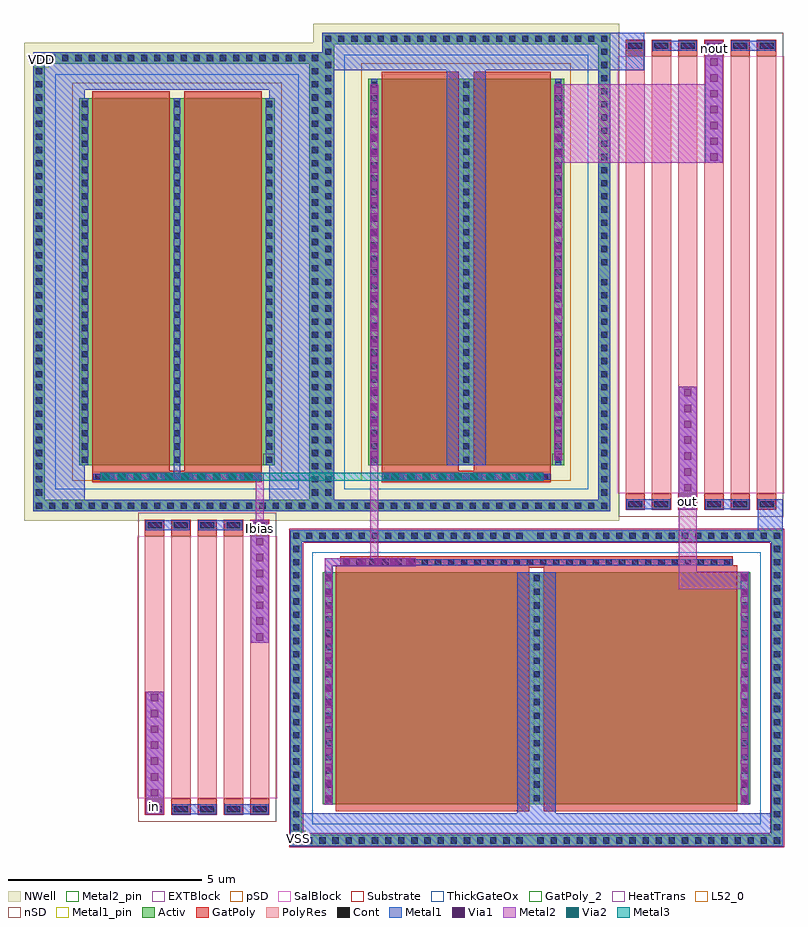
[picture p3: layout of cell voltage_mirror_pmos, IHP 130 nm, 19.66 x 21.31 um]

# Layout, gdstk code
from math import pi, radians
import gdstk
lib = gdstk.Library(unit=1e-6, precision=1e-09)
def R(c, l, rs):  # rectangles x0, y0, x1, y1
    for r in rs: c.add(gdstk.rectangle(r[:2], r[2:], *l))
def A(c, l, x, y, w, h, nx, ny, dx, dy):  # array of equal rectangles
    R(c, l, [(x+i*dx, y+j*dy, x+i*dx+w, y+j*dy+h) for i in range(nx) for j in range(ny)])
def P(c, l, *ps):  # polygons
    for p in ps: c.add(gdstk.Polygon(p, *l))
Activ = (1, 0)
GatPoly = (5, 0)
GatPoly_2 = (5, 2)
Cont = (6, 0)
nSD = (7, 0)
Metal1 = (8, 0)
Metal1_pin = (8, 2)
Metal2 = (10, 0)
Metal2_pin = (10, 2)
pSD = (14, 0)
Via1 = (19, 0)
SalBlock = (28, 0)
Via2 = (29, 0)
Metal3 = (30, 0)
NWell = (31, 0)
Substrate = (40, 0)
ThickGateOx = (44, 0)
HeatTrans = (51, 0)
L52_0 = (52, 0)
EXTBlock = (111, 0)
PolyRes = (128, 0)

nmoshv_10 = lib.new_cell('nmosHV$10')
A(nmoshv_10, Activ, 0, 0, 0.3, 0.3, 3, 1, 5.38, 0)
R(nmoshv_10, Activ, [(-0.84,-0.79,-0.54,6.79), (11.6,-0.79,11.9,6.79), (0,0,11.06,6), (-0.84,6.79,11.9,7.09)])
P(nmoshv_10, Activ, [(-0.84,-1.09),(-0.84,6.79),(-0.54,6.79),(-0.54,-0.79),(11.6,-0.79),(11.6,6.79),(-0.84,6.79),(-0.84,7.09),(11.9,7.09),(11.9,-1.09)])
R(nmoshv_10, GatPoly, [(0.34,-0.18,5.34,6.18), (5.72,-0.18,10.72,6.18)])
R(nmoshv_10, GatPoly_2, [(0.34,-0.18,5.34,6.18)])
A(nmoshv_10, Cont, -0.77, -1.02, 0.16, 0.16, 18, 2, 0.34, 7.88)
A(nmoshv_10, Cont, 5.55, -1.02, 0.16, 0.16, 19, 2, 0.34, 7.88)
A(nmoshv_10, Cont, -0.77, -0.68, 0.16, 0.16, 1, 11, 0, 0.34)
A(nmoshv_10, Cont, 11.67, -0.68, 0.16, 0.16, 1, 11, 0, 0.34)
A(nmoshv_10, Cont, 0.07, 0.07, 0.16, 0.16, 3, 4, 5.38, 0.355)
A(nmoshv_10, Cont, 0.07, 1.495, 0.16, 0.16, 3, 4, 5.38, 0.355)
A(nmoshv_10, Cont, 0.07, 2.92, 0.16, 0.16, 3, 4, 5.38, 0.355)
A(nmoshv_10, Cont, -0.77, 3.12, 0.16, 0.16, 1, 11, 0, 0.34)
A(nmoshv_10, Cont, 11.67, 3.12, 0.16, 0.16, 1, 11, 0, 0.34)
A(nmoshv_10, Cont, 0.07, 4.345, 0.16, 0.16, 3, 4, 5.38, 0.355)
A(nmoshv_10, Cont, 0.07, 5.77, 0.16, 0.16, 3, 1, 5.38, 0)
A(nmoshv_10, Metal1, 0.07, 0, 0.16, 6, 3, 1, 5.38, 0)
R(nmoshv_10, Metal1, [(-0.84,-1.09,11.9,-0.79), (-0.84,-0.79,-0.54,6.79), (11.6,-0.79,11.9,6.79), (-0.84,6.79,11.9,7.09)])
R(nmoshv_10, Metal1_pin, [(0.07,0,0.23,6), (5.45,0,5.61,6)])
R(nmoshv_10, pSD, [(-0.87,-0.76,-0.51,6.76), (11.57,-0.76,11.93,6.76), (-0.87,6.76,11.93,7.12)])
P(nmoshv_10, pSD, [(-0.87,-1.12),(-0.87,6.76),(-0.51,6.76),(-0.51,-0.76),(11.57,-0.76),(11.57,6.76),(-0.87,6.76),(-0.87,7.12),(11.93,7.12),(11.93,-1.12)])
R(nmoshv_10, Substrate, [(-0.87,-0.76,-0.51,6.76), (11.57,-0.76,11.93,6.76), (-0.87,6.76,11.93,7.12)])
P(nmoshv_10, Substrate, [(-0.87,-1.12),(-0.87,6.76),(-0.51,6.76),(-0.51,-0.76),(11.57,-0.76),(11.57,6.76),(-0.87,6.76),(-0.87,7.12),(11.93,7.12),(11.93,-1.12)])
R(nmoshv_10, ThickGateOx, [(-0.27,-0.52,11.33,6.52)])
R(nmoshv_10, HeatTrans, [(0.34,-0.18,5.34,6.18), (5.72,-0.18,10.72,6.18)])
nmoshv_10.add(gdstk.Label('nmosHV', (2.84,3), layer=63, texttype=0))
nmoshv_10.add(gdstk.Label('sub!', (5.53,-0.94), layer=63, texttype=0))
nmoshv_10.add(gdstk.Label('nmosHV', (2.84,3), layer=51, texttype=0))
nmoshv_10.add(gdstk.Label('nmosHV', (8.22,3), layer=51, texttype=0))

via_stack_27 = lib.new_cell('via_stack$27')
R(via_stack_27, Metal1, [(-3.015,-0.105,3.015,0.105)])
R(via_stack_27, Metal2, [(-3.015,-0.1,3.015,0.1)])
A(via_stack_27, Via1, -2.965, -0.095, 0.19, 0.19, 15, 1, 0.41, 0)

rhigh_2 = lib.new_cell('rhigh$2')
A(rhigh_2, GatPoly, 0, -0.43, 0.5, 0.43, 5, 2, 0.68, 7.21)
A(rhigh_2, Cont, 0.07, -0.36, 0.36, 0.16, 5, 2, 0.68, 7.34)
A(rhigh_2, nSD, -0.18, -0.61, 0.86, 0.79, 5, 2, 0.68, 7.21)
R(rhigh_2, nSD, [(-0.18,0,0.68,6.78), (-0.18,0,0.68,6.78), (0.5,0,1.36,6.78), (0.5,0,1.36,6.78), (1.18,0,2.04,6.78), (1.18,0,2.04,6.78), (1.86,0,2.72,6.78), (1.86,0,2.72,6.78), (2.54,0,3.4,6.78), (2.54,0,3.4,6.78)])
A(rhigh_2, Metal1, 0.02, -0.41, 0.46, 0.26, 5, 2, 0.68, 7.34)
R(rhigh_2, Metal1, [(0.7,-0.41,1.84,-0.15), (2.06,-0.41,3.2,-0.15), (0.02,6.93,1.16,7.19), (1.38,6.93,2.52,7.19)])
A(rhigh_2, Metal1_pin, 0.02, -0.41, 0.46, 0.26, 5, 2, 0.68, 7.34)
A(rhigh_2, pSD, -0.18, -0.61, 0.86, 0.79, 5, 2, 0.68, 7.21)
R(rhigh_2, pSD, [(-0.18,0,0.68,6.78), (-0.18,0,0.68,6.78), (0.5,0,1.36,6.78), (0.5,0,1.36,6.78), (1.18,0,2.04,6.78), (1.18,0,2.04,6.78), (1.86,0,2.72,6.78), (1.86,0,2.72,6.78), (2.54,0,3.4,6.78), (2.54,0,3.4,6.78)])
A(rhigh_2, SalBlock, -0.2, 0, 0.9, 6.78, 5, 1, 0.68, 0)
A(rhigh_2, L52_0, 0, 0, 0.5, 6.78, 5, 1, 0.68, 0)
A(rhigh_2, EXTBlock, -0.18, -0.61, 0.86, 0.79, 5, 2, 0.68, 7.21)
A(rhigh_2, EXTBlock, -0.2, 0, 0.9, 6.78, 5, 1, 0.68, 0)
A(rhigh_2, PolyRes, 0, 0, 0.5, 6.78, 5, 1, 0.68, 0)
rhigh_2.add(gdstk.Label('rhigh r=20365.217', (0.25,3.39), layer=63, texttype=0))
rhigh_2.add(gdstk.Label('rhigh r=20365.217', (0.25,3.39), layer=63, texttype=0))
rhigh_2.add(gdstk.Label('rhigh r=20365.217', (0.25,3.39), layer=63, texttype=0))
rhigh_2.add(gdstk.Label('rhigh r=20365.217', (0.25,3.39), layer=63, texttype=0))
rhigh_2.add(gdstk.Label('rhigh r=20365.217', (0.25,3.39), layer=63, texttype=0))
rhigh_2.add(gdstk.Label('rhigh', (0.25,3.39), layer=52, texttype=0))
rhigh_2.add(gdstk.Label('rhigh', (0.93,3.39), layer=52, texttype=0))
rhigh_2.add(gdstk.Label('rhigh', (1.61,3.39), layer=52, texttype=0))
rhigh_2.add(gdstk.Label('rhigh', (2.29,3.39), layer=52, texttype=0))
rhigh_2.add(gdstk.Label('rhigh', (2.97,3.39), layer=52, texttype=0))

via_stack_3_3 = lib.new_cell('via_stack$3$3')
R(via_stack_3_3, Metal1, [(-4.86,-0.105,4.86,0.105)])
R(via_stack_3_3, Metal2, [(-4.86,-0.1,4.86,0.1)])
A(via_stack_3_3, Via1, -4.81, -0.095, 0.19, 0.19, 24, 1, 0.41, 0)

pmoshv_6 = lib.new_cell('pmosHV$6')
A(pmoshv_6, Activ, 0, 0, 0.3, 0.3, 3, 1, 2.38, 0)
R(pmoshv_6, Activ, [(-1.19,-0.89,-0.89,10.89), (5.95,-0.89,6.25,10.89), (0,0,5.06,10), (-1.19,10.89,6.25,11.19)])
P(pmoshv_6, Activ, [(-1.19,-1.19),(-1.19,10.89),(-0.89,10.89),(-0.89,-0.89),(5.95,-0.89),(5.95,10.89),(-1.19,10.89),(-1.19,11.19),(6.25,11.19),(6.25,-1.19)])
R(pmoshv_6, GatPoly, [(0.34,-0.18,2.34,10.18), (2.72,-0.18,4.72,10.18)])
R(pmoshv_6, GatPoly_2, [(0.34,-0.18,2.34,10.18)])
A(pmoshv_6, Cont, -1.12, -1.12, 0.16, 0.16, 22, 2, 0.34, 12.08)
A(pmoshv_6, Cont, -1.12, -0.78, 0.16, 0.16, 1, 17, 0, 0.34)
A(pmoshv_6, Cont, 6.02, -0.78, 0.16, 0.16, 1, 17, 0, 0.34)
A(pmoshv_6, Cont, 0.07, 0.07, 0.16, 0.16, 3, 4, 2.38, 0.345)
A(pmoshv_6, Cont, 0.07, 1.455, 0.16, 0.16, 3, 3, 2.38, 0.345)
A(pmoshv_6, Cont, 0.07, 2.495, 0.16, 0.16, 3, 4, 2.38, 0.345)
A(pmoshv_6, Cont, 0.07, 3.88, 0.16, 0.16, 3, 3, 2.38, 0.345)
A(pmoshv_6, Cont, 0.07, 4.92, 0.16, 0.16, 3, 4, 2.38, 0.345)
A(pmoshv_6, Cont, -1.12, 5.18, 0.16, 0.16, 1, 17, 0, 0.34)
A(pmoshv_6, Cont, 6.02, 5.18, 0.16, 0.16, 1, 17, 0, 0.34)
A(pmoshv_6, Cont, 0.07, 6.305, 0.16, 0.16, 3, 3, 2.38, 0.345)
A(pmoshv_6, Cont, 0.07, 7.345, 0.16, 0.16, 3, 4, 2.38, 0.345)
A(pmoshv_6, Cont, 0.07, 8.73, 0.16, 0.16, 3, 3, 2.38, 0.345)
A(pmoshv_6, Cont, 0.07, 9.77, 0.16, 0.16, 3, 1, 2.38, 0)
A(pmoshv_6, Metal1, 0.07, 0, 0.16, 10, 3, 1, 2.38, 0)
R(pmoshv_6, Metal1, [(-1.19,-1.19,6.25,-0.89), (-1.19,-0.89,-0.89,10.89), (5.95,-0.89,6.25,10.89), (-1.19,10.89,6.25,11.19)])
R(pmoshv_6, Metal1_pin, [(0.07,0,0.23,10), (2.45,0,2.61,10)])
R(pmoshv_6, pSD, [(-0.18,-0.4,5.24,10.4)])
R(pmoshv_6, NWell, [(-1.43,-1.43,6.49,11.43), (-0.62,-0.62,5.68,10.62)])
R(pmoshv_6, Substrate, [(4.76,0,5.06,0.3)])
R(pmoshv_6, ThickGateOx, [(-0.62,-0.62,5.68,10.62)])
R(pmoshv_6, HeatTrans, [(0.34,-0.18,2.34,10.18), (2.72,-0.18,4.72,10.18)])
pmoshv_6.add(gdstk.Label('pmosHV', (1.34,5), layer=63, texttype=0))
pmoshv_6.add(gdstk.Label('well', (2.53,-1.04), layer=63, texttype=0))
pmoshv_6.add(gdstk.Label('pmos', (1.34,5), layer=51, texttype=0))
pmoshv_6.add(gdstk.Label('pmos', (3.72,5), layer=51, texttype=0))

via_stack_6_2 = lib.new_cell('via_stack$6$2')
R(via_stack_6_2, Metal1, [(-0.105,-0.965,0.105,0.965)])
R(via_stack_6_2, Metal2, [(-0.1,-0.965,0.1,0.965)])
A(via_stack_6_2, Via1, -0.095, -0.915, 0.19, 0.19, 1, 5, 0, 0.41)

via_stack_4_5 = lib.new_cell('via_stack$4$5')
R(via_stack_4_5, GatPoly, [(-0.15,-5.08,0.15,5.08)])
A(via_stack_4_5, Cont, -0.08, -5.01, 0.16, 0.16, 1, 30, 0, 0.34)
R(via_stack_4_5, Metal1, [(-0.08,-5.06,0.08,5.06)])

via_stack_8_4 = lib.new_cell('via_stack$8$4')
R(via_stack_8_4, GatPoly, [(-0.15,-2.19,0.15,2.19)])
A(via_stack_8_4, Cont, -0.08, -2.12, 0.16, 0.16, 1, 13, 0, 0.34)
R(via_stack_8_4, Metal1, [(-0.08,-2.17,0.08,2.17)])

via_stack_11_3 = lib.new_cell('via_stack$11$3')
R(via_stack_11_3, Metal1, [(-0.105,-1.99,0.105,1.99)])
R(via_stack_11_3, Metal2, [(-0.1,-1.99,0.1,1.99)])
A(via_stack_11_3, Via1, -0.095, -1.94, 0.19, 0.19, 1, 10, 0, 0.41)
A(via_stack_11_3, Via2, -0.095, -1.94, 0.19, 0.19, 1, 10, 0, 0.41)
R(via_stack_11_3, Metal3, [(-0.1,-1.99,0.1,1.99)])

pmoshv_1_3 = lib.new_cell('pmosHV$1$3')
A(pmoshv_1_3, Activ, 0, 0, 0.3, 0.3, 3, 1, 2.38, 0)
R(pmoshv_1_3, Activ, [(-1.19,-0.89,-0.89,10.39), (5.95,-0.89,6.25,10.39), (0,0,5.06,9.5), (-1.19,10.39,6.25,10.69)])
P(pmoshv_1_3, Activ, [(-1.19,-1.19),(-1.19,10.39),(-0.89,10.39),(-0.89,-0.89),(5.95,-0.89),(5.95,10.39),(-1.19,10.39),(-1.19,10.69),(6.25,10.69),(6.25,-1.19)])
R(pmoshv_1_3, GatPoly, [(0.34,-0.18,2.34,9.68), (2.72,-0.18,4.72,9.68)])
R(pmoshv_1_3, GatPoly_2, [(0.34,-0.18,2.34,9.68)])
A(pmoshv_1_3, Cont, -1.12, -1.12, 0.16, 0.16, 22, 2, 0.34, 11.58)
A(pmoshv_1_3, Cont, -1.12, -0.78, 0.16, 0.16, 1, 16, 0, 0.34)
A(pmoshv_1_3, Cont, 6.02, -0.78, 0.16, 0.16, 1, 16, 0, 0.34)
A(pmoshv_1_3, Cont, 0.07, 0.07, 0.16, 0.16, 3, 7, 2.38, 0.34)
A(pmoshv_1_3, Cont, 0.07, 2.455, 0.16, 0.16, 3, 7, 2.38, 0.34)
A(pmoshv_1_3, Cont, -1.12, 4.68, 0.16, 0.16, 1, 17, 0, 0.34)
A(pmoshv_1_3, Cont, 6.02, 4.68, 0.16, 0.16, 1, 17, 0, 0.34)
A(pmoshv_1_3, Cont, 0.07, 4.84, 0.16, 0.16, 3, 7, 2.38, 0.34)
A(pmoshv_1_3, Cont, 0.07, 7.225, 0.16, 0.16, 3, 6, 2.38, 0.34)
A(pmoshv_1_3, Cont, 0.07, 9.27, 0.16, 0.16, 3, 1, 2.38, 0)
A(pmoshv_1_3, Metal1, 0.07, 0, 0.16, 9.5, 3, 1, 2.38, 0)
R(pmoshv_1_3, Metal1, [(-1.19,-1.19,6.25,-0.89), (-1.19,-0.89,-0.89,10.39), (5.95,-0.89,6.25,10.39), (-1.19,10.39,6.25,10.69)])
R(pmoshv_1_3, Metal1_pin, [(0.07,0,0.23,9.5), (2.45,0,2.61,9.5)])
R(pmoshv_1_3, pSD, [(-0.18,-0.4,5.24,9.9)])
R(pmoshv_1_3, NWell, [(-1.43,-1.43,6.49,10.93), (-0.62,-0.62,5.68,10.12)])
R(pmoshv_1_3, Substrate, [(4.76,0,5.06,0.3)])
R(pmoshv_1_3, ThickGateOx, [(-0.62,-0.62,5.68,10.12)])
R(pmoshv_1_3, HeatTrans, [(0.34,-0.18,2.34,9.68), (2.72,-0.18,4.72,9.68)])
pmoshv_1_3.add(gdstk.Label('pmosHV', (1.34,4.75), layer=63, texttype=0))
pmoshv_1_3.add(gdstk.Label('well', (2.53,-1.04), layer=63, texttype=0))
pmoshv_1_3.add(gdstk.Label('pmos', (1.34,4.75), layer=51, texttype=0))
pmoshv_1_3.add(gdstk.Label('pmos', (3.72,4.75), layer=51, texttype=0))

via_stack_9_2 = lib.new_cell('via_stack$9$2')
R(via_stack_9_2, Metal1, [(-1.58,-0.105,1.58,0.105)])
R(via_stack_9_2, Metal2, [(-1.58,-0.1,1.58,0.1)])
A(via_stack_9_2, Via1, -1.53, -0.095, 0.19, 0.19, 8, 1, 0.41, 0)

rhigh = lib.new_cell('rhigh')
A(rhigh, GatPoly, 0, -0.43, 0.5, 0.43, 3, 2, 0.68, 11.73)
A(rhigh, Cont, 0.07, -0.36, 0.36, 0.16, 3, 2, 0.68, 11.86)
A(rhigh, nSD, -0.18, -0.61, 0.86, 0.79, 3, 2, 0.68, 11.73)
R(rhigh, nSD, [(-0.18,0,0.68,11.3), (-0.18,0,0.68,11.3), (0.5,0,1.36,11.3), (0.5,0,1.36,11.3), (1.18,0,2.04,11.3), (1.18,0,2.04,11.3)])
A(rhigh, Metal1, 0.02, -0.41, 0.46, 0.26, 3, 2, 0.68, 11.86)
R(rhigh, Metal1, [(0.7,-0.41,1.84,-0.15), (0.02,11.45,1.16,11.71)])
A(rhigh, Metal1_pin, 0.02, -0.41, 0.46, 0.26, 3, 2, 0.68, 11.86)
A(rhigh, pSD, -0.18, -0.61, 0.86, 0.79, 3, 2, 0.68, 11.73)
R(rhigh, pSD, [(-0.18,0,0.68,11.3), (-0.18,0,0.68,11.3), (0.5,0,1.36,11.3), (0.5,0,1.36,11.3), (1.18,0,2.04,11.3), (1.18,0,2.04,11.3)])
A(rhigh, SalBlock, -0.2, 0, 0.9, 11.3, 3, 1, 0.68, 0)
A(rhigh, L52_0, 0, 0, 0.5, 11.3, 3, 1, 0.68, 0)
A(rhigh, EXTBlock, -0.18, -0.61, 0.86, 0.79, 3, 2, 0.68, 11.73)
A(rhigh, EXTBlock, -0.2, 0, 0.9, 11.3, 3, 1, 0.68, 0)
A(rhigh, PolyRes, 0, 0, 0.5, 11.3, 3, 1, 0.68, 0)
rhigh.add(gdstk.Label('rhigh r=33728.696', (0.25,5.65), layer=63, texttype=0))
rhigh.add(gdstk.Label('rhigh r=33728.696', (0.25,5.65), layer=63, texttype=0))
rhigh.add(gdstk.Label('rhigh r=33728.696', (0.25,5.65), layer=63, texttype=0))
rhigh.add(gdstk.Label('rhigh', (0.25,5.65), layer=52, texttype=0))
rhigh.add(gdstk.Label('rhigh', (0.93,5.65), layer=52, texttype=0))
rhigh.add(gdstk.Label('rhigh', (1.61,5.65), layer=52, texttype=0))

voltage_mirror_pmos = lib.new_cell('voltage_mirror_pmos')
R(voltage_mirror_pmos, Activ, [(0.82,8.69,0.86,20.57)])
R(voltage_mirror_pmos, Metal1, [(0.33,0.33,12.47,0.88), (5.9,0.33,6.9,7.12), (-3.71,1.12,-3.25,4.02), (-0.99,5.3,-0.53,8.2), (12.12,8.21,12.77,9.01), (0.82,8.69,0.86,20.57), (-6.32,8.99,-5.29,20.27), (-0.51,8.99,0.52,20.27), (10.08,9.01,10.54,11.91), (-2.98,9.67,-2.82,9.88), (4.08,9.88,5.08,20.77), (10.76,17.71,11.22,20.61), (-6.32,19.6,0.52,20.27), (1.16,20.1,8,20.77), (8.3,20.1,9.18,21.07)])
R(voltage_mirror_pmos, Metal1_pin, [(0.03,0.03,0.43,0.43), (-6.62,20.17,-6.22,20.57)])
R(voltage_mirror_pmos, Metal2, [(-3.71,0.86,-3.25,4.02), (-0.99,5.3,-0.53,8.46), (10.08,8.75,10.54,11.91), (7.06,17.71,11.22,19.74), (10.76,17.71,11.22,20.87)])
R(voltage_mirror_pmos, Metal2_pin, [(-3.68,0.86,-3.28,1.26), (-0.96,8.06,-0.56,8.46), (10.11,8.75,10.51,9.15), (10.79,20.47,11.19,20.87)])
R(voltage_mirror_pmos, Metal3, [(-0.91,9.49,2.59,9.69)])
voltage_mirror_pmos.add(gdstk.FlexPath([(1.02,7.135),(1.02,7.38),(1.34,7.38)], 0.21, ends="flush", simple_path=True, layer=8, datatype=0))  # Metal1
voltage_mirror_pmos.add(gdstk.FlexPath([(1.34,7.38),(1.02,7.38),(1.02,7.135)], 0.2, ends="flush", simple_path=True, layer=10, datatype=0))  # Metal2
voltage_mirror_pmos.add(gdstk.FlexPath([(2.2,10.02),(2.2,7.48)], 0.2, ends="flush", simple_path=True, layer=10, datatype=0))  # Metal2
voltage_mirror_pmos.add(gdstk.FlexPath([(-0.76,8.46),(-0.76,9.59),(-0.91,9.59)], 0.2, ends="flush", simple_path=True, layer=10, datatype=0))  # Metal2
voltage_mirror_pmos.add(gdstk.FlexPath([(10.31,8.75),(10.31,6.905),(11.68,6.905)], 0.46, ends="flush", simple_path=True, layer=10, datatype=0))  # Metal2
voltage_mirror_pmos.add(gdstk.Reference(nmoshv_10, (0.87,1.12)))
voltage_mirror_pmos.add(gdstk.Reference(via_stack_27, (1.02,4.12), rotation=pi/2))
voltage_mirror_pmos.add(gdstk.Reference(rhigh_2, (-3.73,1.27)))
voltage_mirror_pmos.add(gdstk.Reference(via_stack_3_3, (2.2,14.88), rotation=pi/2))
voltage_mirror_pmos.add(gdstk.Reference(pmoshv_6, (2.05,9.88)))
voltage_mirror_pmos.add(gdstk.Reference(via_stack_6_2, (2.305,7.38), rotation=pi/2))
voltage_mirror_pmos.add(gdstk.Reference(via_stack_4_5, (6.4,7.38), rotation=pi/2))
voltage_mirror_pmos.add(gdstk.Reference(via_stack_8_4, (4.58,9.59), rotation=pi/2))
voltage_mirror_pmos.add(gdstk.Reference(via_stack_11_3, (4.58,9.59), rotation=3*pi/2, x_reflection=True))
voltage_mirror_pmos.add(gdstk.Reference(via_stack_11_3, (-2.9,9.59), rotation=3*pi/2, x_reflection=True))
voltage_mirror_pmos.add(gdstk.Reference(via_stack_8_4, (-2.9,9.59), rotation=pi/2))
voltage_mirror_pmos.add(gdstk.Reference(via_stack_3_3, (6.96,14.88), rotation=pi/2))
voltage_mirror_pmos.add(gdstk.Reference(via_stack_27, (11.78,4.12), rotation=pi/2))
voltage_mirror_pmos.add(gdstk.Reference(pmoshv_1_3, (-5.43,9.88)))
voltage_mirror_pmos.add(gdstk.Reference(via_stack_9_2, (-0.76,6.88), rotation=3*pi/2, x_reflection=True))
voltage_mirror_pmos.add(gdstk.Reference(via_stack_9_2, (-3.48,2.44), rotation=pi/2))
voltage_mirror_pmos.add(gdstk.Reference(rhigh, (8.7,20.46), x_reflection=True))
voltage_mirror_pmos.add(gdstk.Reference(rhigh, (10.74,20.46), x_reflection=True))
voltage_mirror_pmos.add(gdstk.Reference(via_stack_9_2, (10.99,19.29), rotation=3*pi/2, x_reflection=True))
voltage_mirror_pmos.add(gdstk.Reference(via_stack_9_2, (10.31,10.33), rotation=pi/2))
voltage_mirror_pmos.add(gdstk.Label('VSS', (0.23,0.23), layer=8, texttype=25))
voltage_mirror_pmos.add(gdstk.Label('VDD', (-6.42,20.37), layer=8, texttype=25))
voltage_mirror_pmos.add(gdstk.Label('in', (-3.48,1.06), layer=10, texttype=25))
voltage_mirror_pmos.add(gdstk.Label('Ibias', (-0.76,8.26), layer=10, texttype=25))
voltage_mirror_pmos.add(gdstk.Label('nout', (10.99,20.67), layer=10, texttype=25))
voltage_mirror_pmos.add(gdstk.Label('out', (10.31,8.95), layer=10, texttype=25))

lib.write_gds('voltage_mirror_pmos.gds')
